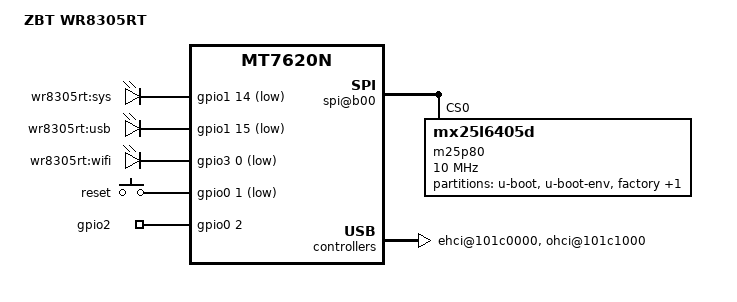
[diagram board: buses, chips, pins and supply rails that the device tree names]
/dts-v1/;

/include/ "mt7620n.dtsi"

/ {
	compatible = "wr8305rt", "ralink,mt7620n-soc";
	model = "ZBT WR8305RT";

	palmbus@10000000 {
		gpio1: gpio@638 {
			status = "okay";
		};
		gpio3: gpio@688 {
			status = "okay";
		};

		spi@b00 {
			status = "okay";

			m25p80@0 {
				#address-cells = <1>;
				#size-cells = <1>;
				compatible = "mx25l6405d";
				reg = <0 0>;
				linux,modalias = "m25p80", "en25q64";
				spi-max-frequency = <10000000>;

				partition@0 {
					label = "u-boot";
					reg = <0x0 0x30000>;
					read-only;
				};

				partition@30000 {
					label = "u-boot-env";
					reg = <0x30000 0x10000>;
					read-only;
				};

				factory: partition@40000 {
					label = "factory";
					reg = <0x40000 0x10000>;
					read-only;
				};

				partition@50000 {
					label = "firmware";
					reg = <0x50000 0x7b0000>;
				};
			};
		};
	};

	ehci@101c0000 {
		status = "okay";
	};

	ohci@101c1000 {
		status = "okay";
	};

	ethernet@10100000 {
		mtd-mac-address = <&factory 0x4>;
		ralink,port-map = "llllw";
	};

	wmac@10180000 {
		ralink,mtd-eeprom = <&factory 0>;
	};

	pinctrl {
		state_default: pinctrl0 {
			ephy {
				ralink,group = "ephy";
				ralink,function = "ephy";
			};
			default {
				ralink,group = "i2c", "uartf", "spi refclk", "wled";
				ralink,function = "gpio";
			};
		};
	};

	gpio-leds {
		compatible = "gpio-leds";
		sys {
			label = "wr8305rt:sys";
			gpios = <&gpio1 14 1>;
		};
		lan {
			label = "wr8305rt:usb";
			gpios = <&gpio1 15 1>;
		};
		wifi {
			label = "wr8305rt:wifi";
			gpios = <&gpio3 0 1>;
		};
	};

	gpio-keys-polled {
		compatible = "gpio-keys-polled";
		#address-cells = <1>;
		#size-cells = <0>;
		poll-interval = <20>;
		reset {
			label = "reset";
			gpios = <&gpio0 1 1>;
			linux,code = <0x198>;
		};
	};

	gpio-export {
		compatible = "gpio-export";
		#size-cells = <0>;
		gpio2 {
			gpio-export,name = "gpio2";
			gpio-export,direction_may_change = <1>;
			gpio-export,input = <1>;                  /* Работаем на вход, Vixand edition, Только сегодня, исключительно для Василия ;) */
			#gpio-export,output = <0>;                /* Значение по-умолчанию при старте: 0 - горит светодиод, питание на USB через ключ НЕ подаётся */
			gpios = <&gpio0 2 0>;                     /* Адрес контроллера, номер GPIO, 0 или 1 будет использоваться в качестве ON/OFF (привязываемся к подаче питания) */
		};
	};

};
